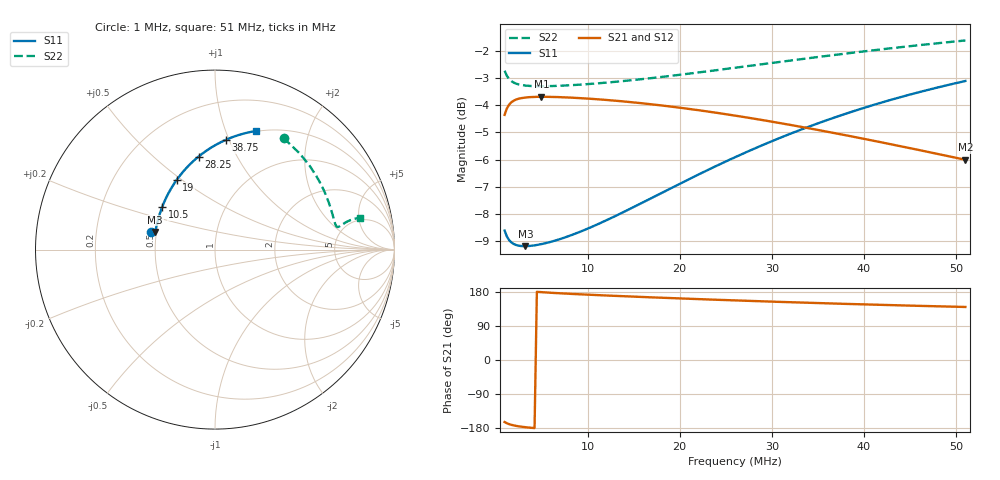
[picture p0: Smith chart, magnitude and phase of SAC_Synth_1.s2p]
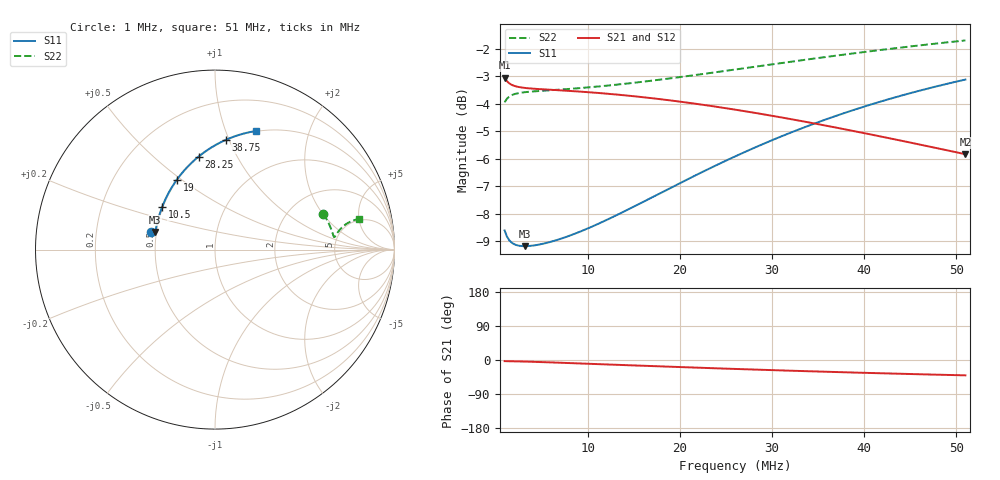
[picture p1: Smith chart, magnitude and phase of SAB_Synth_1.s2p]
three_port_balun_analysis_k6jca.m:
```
%% Three Port Balun Analysis
% Dick Benson, June 2018, June 2020 
% Modified by k6jca June 2020

clear; close all; clc;

temp_dir = [pwd,'\temp\'];   % place for temporary files. 


% EDIT THIS:   
example_number = 10;  % Select the measurement data to be analyzed. 
              
            
switch example_number
    
     % Data from Simulink balun model
    case 1
      comment='Synthetic Lossless Data 20 uH, K= 0.99';
      [SAC,Meas_Notes,Meas_State]=spar_read('synth\','SAC_Synth_1.s2p');
      SAB  = read(rfdata.data,'synth\SAB_Synth_1.s2p');
      SBC  = read(rfdata.data,'synth\SBC_Synth_1.s2p'); 
      R_load = [50 75 100 150 200 300 450];  % series resistance
      N = 1;    % 1:1 turns-ratio for the "ideal" transformer
      
     % VNA Measurements on physical baluns.   
    case 2
      comment='0 dBm source w1qg 1:4 Guanella Balun';
      imshow(imread('dut_pictures/w1qg_1_to_4.jpg'));
      hf=gcf; set(hf,'Name',['dut_pictures/w1qg_1_to_4.jpg example_number =',...
          num2str(example_number)],'position',[376 623 412 298]);
      [SAC,Meas_Notes,Meas_State]=spar_read('meas\','SAC_2.s2p'); 
      SAB  = read(rfdata.data,'meas\SAB_2.s2p');
      SBC  = read(rfdata.data,'meas\SBC_2.s2p');
      R_load = [50 75 100 150 200 300 450];  % series resistance
      N = 1;    % 1:1 turns-ratio for the "ideal" transformer
     
    case 3
      comment='Commercial 1:4 Voltage Balun #1';
      imshow(imread('dut_pictures/Commercial_1_to_1.jpg'));
      hf=gcf; set(hf,'Name',['dut_pictures/Commercial_1_to_1.jpg example_number =',...
          num2str(example_number)],'position',[376 623 412 298]);
      [SAC,Meas_Notes,Meas_State]=spar_read('meas\','SAC_3.s2p'); 
      SAB  = read(rfdata.data,'meas\SAB_3.s2p');
      SBC  = read(rfdata.data,'meas\SBC_3.s2p'); 
      R_load = [50 75 100 150 200 300 450];  % series resistance
      N = 1;    % 1:1 turns-ratio for the "ideal" transformer
        
    case 4
      comment='KLM 1:4 Voltage Balun';
      imshow(imread('dut_pictures/KLM_1_to_4.jpg'));
      hf=gcf; set(hf,'Name',['dut_pictures/KLM_1_to_4.jpg example_number =',...
          num2str(example_number)],'position',[376 623 412 298]);
      [SAC,Meas_Notes,Meas_State]=spar_read('meas\','SAC_4.s2p'); 
      SAB  = read(rfdata.data,'meas\SAB_4.s2p');
      SBC  = read(rfdata.data,'meas\SBC_4.s2p');  
      R_load = [50 75 100 150 200 300 450];  % series resistance
      N = 1;    % 1:1 turns-ratio for the "ideal" transformer
     
     case 5
      comment='Commercial 1:1 Ferrite Rod Voltage Balun';
      imshow(imread('dut_pictures/Ferrite_Rod_1_to_1.jpg'));
      hf=gcf; set(hf,'Name',['dut_pictures/Ferrite_Rod_1_to1.jpg example_number =',...
          num2str(example_number)],'position',[376 623 412 298]);
      [SAC,Meas_Notes,Meas_State]=spar_read('meas\','SAC_5.s2p'); 
      SAB  = read(rfdata.data,'meas\SAB_5.s2p');
      SBC  = read(rfdata.data,'meas\SBC_5.s2p');  
      R_load = [50 75 100 150 200 300 450];  % series resistance
      N = 1;    % 1:1 turns-ratio for the "ideal" transformer
      
    case 6
      comment='2X Yellow Core 1:1 Choke Balun';
      imshow(imread('dut_pictures/Choke_2x_Yellow_Cores.jpg'));
      hf=gcf; set(hf,'Name',['dut_pictures/Choke_2x_Yellow_Cores.jpg example_number =',...
          num2str(example_number)],'position',[376 623 412 298]);
      [SAC,Meas_Notes,Meas_State]=spar_read('meas\','SAC_6a.s2p'); 
      SAB  = read(rfdata.data,'meas\SAB_6a.s2p');
      SBC  = read(rfdata.data,'meas\SBC_6a.s2p');  
      R_load = [50 75 100 150 200 300 450];  % series resistance
      N = 1;    % 1:1 turns-ratio for the "ideal" transformer
      
     case 7
      comment='EMI Snap on Core 1:1 Choke Balun';
      imshow(imread('dut_pictures/Choke_Snap_On_EMI.jpg'));
      hf=gcf; set(hf,'Name',['dut_pictures/Choke_Snap_On_EMI.jpg example_number =',...
          num2str(example_number)],'position',[376 623 412 298]);
      [SAC,Meas_Notes,Meas_State]=spar_read('meas\','SAC_7a.s2p'); 
      SAB  = read(rfdata.data,'meas\SAB_7a.s2p');
      SBC  = read(rfdata.data,'meas\SBC_7a.s2p');   
      R_load = [50 75 100 150 200 300 450];  % series resistance
      N = 1;    % 1:1 turns-ratio for the "ideal" transformer
       
    case 8
      comment='1:1 Voltage Balun Large Red Core';
      imshow(imread('dut_pictures/Commercial_Red_Core_1_to_1.jpg'));
      hf=gcf; set(hf,'Name',['dut_pictures/Commercial_Red_Core_1_to_1.jpg example_number =',...
          num2str(example_number)],'position',[376 623 412 298]);  
      [SAC,Meas_Notes,Meas_State]=spar_read('meas\','SAC_8.s2p'); 
      SAB  = read(rfdata.data,'meas\SAB_8.s2p');
      SBC  = read(rfdata.data,'meas\SBC_8.s2p'); 
      R_load = [50 75 100 150 200 300 450];  % series resistance
      N = 1;    % 1:1 turns-ratio for the "ideal" transformer
   
    case 9
      comment='1:1 Voltage Balun Taped Core with Terminals';
      imshow(imread('dut_pictures/Commercial_1_to_1_Wrapped.jpg'));
      hf=gcf; set(hf,'Name',['dut_pictures/Commercial_1_to_1_Wrapped.jpg example_number =',...
          num2str(example_number)],'position',[376 623 412 298]); 
      [SAC,Meas_Notes,Meas_State]=spar_read('meas\','SAC_9.s2p'); 
      SAB  = read(rfdata.data,'meas\SAB_9.s2p');
      SBC  = read(rfdata.data,'meas\SBC_9.s2p'); 
      R_load = [50 75 100 150 200 300 450];  % series resistance
      N = 1;    % 1:1 turns-ratio for the "ideal" transformer
              
    case 10  % k6jca
      comment='Nooelec 1:9 Balun, Balun Xfrmr Center-taps grounded';
      [SAC,Meas_Notes,Meas_State]=spar_read('meas\',...
          '200603_3Port_P1_50out_P2_AntWire_Term_AntGnd.s2p'); 
      SAB  = read(rfdata.data,'meas\200603_3Port_P1_50out_P2_AntGnd_Term_AntWire.s2p');
      SBC  = read(rfdata.data,'meas\200603_3Port_P1_AntGnd_P2_AntWire_Term_50out.s2p'); 
      R_load = 600;  % series resistance
%       R_load = [ 350, 400, 450, 500, 550, 600];  % series resistance
      N = 1;    % 1:1 turns-ratio for the "ideal" transformer
            
    case 11  % k6jca
      comment='Nooelec 1:9 Balun, Balun Xfrmr Center-taps floating';
      [SAC,Meas_Notes,Meas_State]=spar_read('meas\',...
          '200603_3Port_CTopen_P1_50out_P2_AntWire_Term_AntGnd.s2p'); 
      SAB  = read(rfdata.data,'meas\200603_3Port_CTopen_P1_50out_P2_AntGnd_Term_AntWire.s2p');
      SBC  = read(rfdata.data,'meas\200603_3Port_CTopen_P1_AntGnd_P2_AntWire_Term_50out.s2p'); 
      R_load = [300, 350, 400, 450, 500, 550, 600, 650];  % series resistance
      N = 1;    % 1:1 turns-ratio for the "ideal" transformer
             
     case 12  % k6jca
      comment='Nooelec 1:9 Balun, Balun Xfrmr Center-taps grounded';
      [SAC,Meas_Notes,Meas_State]=spar_read('meas\',...
          '200603_3Port_P1_50out_P2_AntWire_Term_AntGnd.s2p'); 
      SAB  = read(rfdata.data,'meas\200603_3Port_P1_50out_P2_AntGnd_Term_AntWire.s2p');
      SBC  = read(rfdata.data,'meas\200603_3Port_P1_AntGnd_P2_AntWire_Term_50out.s2p'); 
%       R_load = [33.33, 38.89, 44.44, 50, 55.56, 61.11, 66.67, 72.22];  % series resistance
      R_load = 50;  % series resistance
      N = 3;    % 3:1 turns-ratio for the "ideal" transformer
             
    otherwise
       disp('Invalid example_number selection.')
       return
end;

% Calculate 3-port s-parameters from 3-sets of 2-port measurements
fv_1       = SAC.Freq;
Len        = length(fv_1);
balun_sp   = complex(zeros(3,3,Len));     % initialize 3x3 matrix with 0
balun_sp(1,1,:)=SAB.S_Parameters(1,1,:);  % 3-port s11
balun_sp(1,2,:)=SAB.S_Parameters(1,2,:);  % 3-port s12
balun_sp(1,3,:)=SAC.S_Parameters(1,2,:);  % 3-port s13
balun_sp(2,1,:)=SAB.S_Parameters(2,1,:);  % 3-port s21
balun_sp(2,2,:)=SAB.S_Parameters(2,2,:);  % 3-port s22
balun_sp(2,3,:)=SBC.S_Parameters(1,2,:);  % 3-port s23
balun_sp(3,1,:)=SAC.S_Parameters(2,1,:);  % 3-port s31
balun_sp(3,2,:)=SBC.S_Parameters(2,1,:);  % 3-port s32
balun_sp(3,3,:)=SBC.S_Parameters(2,2,:);  % 3-port s33

rf_obj=rfdata.data;
rf_obj.Freq=fv_1;
rf_obj.S_Parameters = balun_sp;


% S Parameters for an ideal (lossless) 3-port transformer.
% Ports 1 and 2 are the a floating primary (inputs), 
% Port 3 is the output port.  
%
% The ratios are transformer turns ratios, input turns to 
% output turns(thus impedance ratio is turns-ratio squared).
%
s_xformer = [   N^2/(N^2 + 2)         2/(N^2 + 2)       (2*N)/(N^2 + 2);
                2/(N^2 + 2)       N^2/(N^2 + 2)        -(2*N)/(N^2 + 2);
               (2*N)/(N^2 + 2) -(2*N)/(N^2 + 2),   -(N^2 - 2)/(N^2 + 2) ];
    
turns_ratio_text = [num2str(N),':1'];

spar_xfrmr = complex(zeros(3,3,Len));
for k=1:Len
  spar_xfrmr(:,:,k) = s_xformer(:,:);
end

% Cascade the 1-in 2-out balun with the 2-in 1-out transformer,
% the combination of which results in a 2-port network.
spar_cascade=cascadesparams(balun_sp,spar_xfrmr,2); 

% k6jca -- and reverse the cascaded matrix to calculate Gp
% when the output-port is driven (via xfrmr) and the input-port terminated.
rev_spar_cascade(1,1,:) = spar_cascade(2,2,:);
rev_spar_cascade(1,2,:) = spar_cascade(2,1,:);
rev_spar_cascade(2,1,:) = spar_cascade(1,2,:);
rev_spar_cascade(2,2,:) = spar_cascade(1,1,:);
rev_R_load = 50;  % balun input port assumed to be 50 ohms, thus, if it is
                  % now assigned to be the output port, terminate w/50 ohms

% k6jca -- write s2p file of the cascade balun + ideal xfrmr
    temp_obj = rfdata.data;
    temp_obj.S_Parameters = spar_cascade;
    temp_obj.Freq = fv_1;
    name=['spar_cascade_Example_',num2str(example_number),'.s2p'];
    spar_write(temp_dir,name,temp_obj,Meas_Notes,Meas_State);
    s2p_viewer('Load_File_Callback',{temp_dir},{name});

% Color list
     c_list= [
             1            1        0;      % yellow
             0            1        1;      % Cyan           
             0            1        0;      % Green
             0.8500    0.3250     0.0;     % Orange 
             1            0        0;      % Red
             0.9290    0.6940    0.1250;   % Tan 
             0.4940    0.1840    0.5560;   % Violet
             0.6350    0.0780    0.1840;   % Rust
             0           0        0   ];   % Black NOT USED 

% Compute the Balun Power Loss for the list of load impedances.
% Note that these load impedances could be replaced with the antenna's 
% complex impedance, if one has the appropriate s1p file and converts
% S11 to gamma.
%
% For R_load, use values assigned in the examples case statements, above.
X_load =  0.0;   % series reactance 
Zo   =  50;

figure('Position',[100 200 1000 600])
L    =  length(R_load); 
for k=1:L
   Zload   = R_load(k) + 1i*X_load;
   loss_dB = -10*log10(powergain(spar_cascade,Zo,Zload,'Gp'));
   hl=plot( fv_1*1e-6, loss_dB); hold on
   set(hl,'LineWidth',2,'color',c_list(k,:));
   s{k}=['Driven Port = 50-ohm port,      Z load @ Balanced Port (output) = ',...
       num2str(Zload),',  (turns-ratio of ideal output xfrmr = ',turns_ratio_text,')'];
end 
% reverse power loss (k6jca):
   Zload   = rev_R_load + 1i*X_load;
   loss_dB = -10*log10(powergain(rev_spar_cascade,Zo,Zload,'Gp'));
   hl=plot( fv_1*1e-6, loss_dB); hold on
   set(hl,'LineWidth',2,'color',c_list(L+1,:),'Linestyle','-.');
   s{L+1}=['Driven Port = Differential port, (turns-ratio of ideal xfrmr = ',...
       turns_ratio_text,'), Z load @ 50-ohm port (output) =  ',...
       num2str(Zload)];

hl= legend(s,'Location','northwest');
set(hl,'color',[1 1 1]*0.5,'TextColor',[1 1 1])
grid on;
ylabel('dB')
xlabel('MHz');
title(['Power Loss ',comment]);
hax = gca;
set(hax,'color',[1 1 1]*0.6,'Xcolor',[0 0 0],'Ycolor',[0 0 0]);
hold off
drawnow;


% Input Z for various load impedances
rf_obj=rfdata.data;
s1p_viewer; drawnow;
for k=1:L
   Zload   = R_load(k) + 1i*X_load;
   rf_obj.S_Parameters(1,1,:) = gammain(spar_cascade,Zo,Zload);
   rf_obj.Freq=fv_1;
   name=['Rload_',num2str(R_load(k)),'.s1p'];
   spar_write(temp_dir,name,rf_obj,Meas_Notes,Meas_State);
   s1p_viewer('Load_File_Callback',{temp_dir},{name});
   if k==1
       hf      =   findobj('Tag','s1p_view'); 
       % or 'Viewer_Figure' for s2p 
       handles  =  guidata(hf);
       set(handles.add_plots,'value',1);
   end;   
end;  
drawnow;

% To measure Common Mode Z, cascade a T connector on the balun output 
% which shorts the 2 output terminals and provides a measurement port. 
% Use gammaout to compute the common mode gamma, which gives Z_common_mode 

% A perfect coaxial "T"       
 S =   [ -1   2   2;
          2  -1   2
          2   2  -1 ]/3;      

Spar_T = complex(zeros(3,3,Len));

for k=1:Len
  Spar_T(:,:,k) = S(:,:);
end
spar_cascade_T = cascadesparams(balun_sp,Spar_T,2); % this creates a 2 port.

% Note that the common-mode connected network is driven through its 
% Output port, thus its input port must be grounded.

Zsource=0;  % Setting Zsource to 0 connects the input port to ground.

% Calculate Gamma of the driven port (i.e. the network output port).
% Thus use gammaout() in lieu of gammain().  Zsource is the termination 
% at the network input port.
rf_obj.S_Parameters(1,1,:) = gammaout(spar_cascade_T,Zo,Zsource);
name='Common_Mode_Z.s1p';
s_notes = {comment};

spar_write(temp_dir,name,rf_obj,s_notes,Meas_State);
s1p_viewer; drawnow;
s1p_viewer('Load_New_File_Callback',{temp_dir},{name});
```
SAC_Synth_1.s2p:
# MHz S RI R 50
! S-Parameters data
! Freq  reS11  imS11  reS21  imS21  reS12  imS12  reS22  imS22
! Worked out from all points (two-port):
!   201 points, 1 MHz to 51 MHz, reference 50 ohm
!   highest |S21| = -3.70 dB at 5 MHz (marker M1); lowest = -6.0 dB at 51 MHz (marker M2)
!   |S21| within 3 dB of the highest: start of sweep to end of sweep
!   lowest |S11| = -9.2 dB at 3.25 MHz (marker M3), VSWR 2.07, Z = 24.6 + j5.52 ohm
!   |S11| at or under -10 dB: nowhere
!   |S22| runs from -3.3 to -1.6 dB; largest |S21 - S12| = 0
!   S11 on the Smith chart (normalised r, x): 1 MHz: 0.46, +0.11; 10.5 MHz: 0.49, +0.27; 19 MHz: 0.49, +0.48; 28.25 MHz: 0.50, +0.71; 38.75 MHz: 0.50, +0.97; 51 MHz: 0.50, +1.28
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1  -0.3581 0.099  -0.5811 -0.1699  -0.5811 -0.1699  0.3821 0.6214
1.25  -0.3504 0.0919  -0.6064 -0.1405  -0.6064 -0.1405  0.4734 0.5341
1.75  -0.3424 0.0866  -0.6313 -0.0976  -0.6313 -0.0976  0.5642 0.4107
3.25  -0.3335 0.0987  -0.6507 -0.0302  -0.6507 -0.0302  0.6399 0.2447
5  -0.3267 0.1281  -0.6533 0.0115  -0.6533 0.0115  0.6601 0.1765
10.5  -0.2952 0.2355  -0.6412 0.0918  -0.6412 0.0918  0.6784 0.1274
19  -0.2127 0.3895  -0.601 0.1794  -0.601 0.1794  0.7009 0.1343
26  -0.1229 0.4912  -0.5566 0.2334  -0.5566 0.2334  0.7234 0.1489
28.25  -0.0916 0.5183  -0.5411 0.2477  -0.5411 0.2477  0.7312 0.1533
38.75  0.0594 0.6112  -0.4663 0.2963  -0.4663 0.2963  0.7685 0.1691
51  0.2267 0.6607  -0.3834 0.3224  -0.3834 0.3224  0.8098 0.1768
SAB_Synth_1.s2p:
# MHz S RI R 50
! S-Parameters data
! Freq  reS11  imS11  reS21  imS21  reS12  imS12  reS22  imS22
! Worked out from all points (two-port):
!   201 points, 1 MHz to 51 MHz, reference 50 ohm
!   highest |S21| = -3.05 dB at 1 MHz (marker M1); lowest = -5.8 dB at 51 MHz (marker M2)
!   |S21| within 3 dB of the highest: start of sweep to end of sweep
!   lowest |S11| = -9.2 dB at 3.25 MHz (marker M3), VSWR 2.07, Z = 24.6 + j5.52 ohm
!   |S11| at or under -10 dB: nowhere
!   |S22| runs from -3.9 to -1.7 dB; largest |S21 - S12| = 0
!   S11 on the Smith chart (normalised r, x): 1 MHz: 0.46, +0.11; 10.5 MHz: 0.49, +0.27; 19 MHz: 0.49, +0.48; 28.25 MHz: 0.50, +0.71; 38.75 MHz: 0.50, +0.97; 51 MHz: 0.50, +1.28
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1  -0.3581 0.099  0.7029 -0.0371  0.7029 -0.0371  0.6032 0.1985
1.25  -0.3504 0.0919  0.6927 -0.0388  0.6927 -0.0388  0.6223 0.168
1.75  -0.3424 0.0866  0.6823 -0.0403  0.6823 -0.0403  0.6411 0.1296
3.25  -0.3335 0.0987  0.6725 -0.0488  0.6725 -0.0488  0.6572 0.0848
5.75  -0.3235 0.1422  0.6658 -0.0711  0.6658 -0.0711  0.6639 0.0701
10.5  -0.2952 0.2355  0.6511 -0.1182  0.6511 -0.1182  0.6724 0.0782
19  -0.2127 0.3895  0.6095 -0.1957  0.6095 -0.1957  0.6936 0.1087
26  -0.1229 0.4912  0.5643 -0.2468  0.5643 -0.2468  0.7163 0.1316
28.25  -0.0916 0.5183  0.5486 -0.2604  0.5486 -0.2604  0.7243 0.1379
38.75  0.0594 0.6112  0.4727 -0.3071  0.4727 -0.3071  0.7625 0.1594
51  0.2267 0.6607  0.3886 -0.332  0.3886 -0.332  0.8047 0.1707
